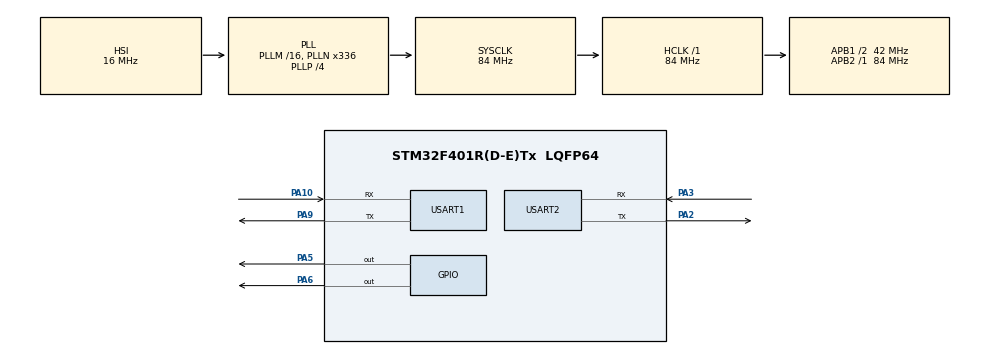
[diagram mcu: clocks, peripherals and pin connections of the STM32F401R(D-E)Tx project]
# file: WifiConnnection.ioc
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Mcu.Family=STM32F4
RCC.CortexFreq_Value=84000000
PA10.Mode=Asynchronous
RCC.APB1CLKDivider=RCC_HCLK_DIV2
NVIC.USART2_IRQn=true\:0\:0\:false\:false\:true\:true\:true
RCC.SYSCLKSource=RCC_SYSCLKSOURCE_PLLCLK
ProjectManager.StackSize=0x400
PA3.Mode=Asynchronous
PA9.Mode=Asynchronous
ProjectManager.TargetToolchain=STM32CubeIDE
RCC.HCLKFreq_Value=84000000
RCC.APB2TimFreq_Value=84000000
PA9.Signal=USART1_TX
RCC.LSE_VALUE=32768
RCC.AHBFreq_Value=84000000
PA5.Signal=GPIO_Output
RCC.HSE_VALUE=8000000
board=NUCLEO-F401RE
RCC.VCOOutputFreq_Value=336000000
RCC.APB2Freq_Value=84000000
Mcu.Name=STM32F401R(D-E)Tx
PA2.Signal=USART2_TX
RCC.48MHZClocksFreq_Value=48000000
RCC.SYSCLKFreq_VALUE=84000000
Mcu.Package=LQFP64
PA6.Signal=GPIO_Output
USART2.VirtualMode=VM_ASYNC
USART1.VirtualMode=VM_ASYNC
PA10.Signal=USART1_RX
ProjectManager.HeapSize=0x200
RCC.HSI_VALUE=16000000
RCC.PLLP=RCC_PLLP_DIV4
RCC.PLLQ=7
NVIC.PriorityGroup=NVIC_PRIORITYGROUP_0
RCC.PLLN=336
RCC.APB1TimFreq_Value=84000000
PA2.Mode=Asynchronous
NVIC.USART1_IRQn=true\:0\:0\:false\:false\:true\:true\:true
RCC.APB1Freq_Value=42000000
PA3.Signal=USART2_RX

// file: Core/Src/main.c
/* USER CODE BEGIN Header */
/**
 ******************************************************************************
 * @file           : main.c
 * @brief          : Main program body
 ******************************************************************************
 * @attention
 *
 * <h2><center>&copy; Copyright (c) 2021 STMicroelectronics.
 * All rights reserved.</center></h2>
 *
 * This software component is licensed by ST under BSD 3-Clause license,
 * the "License"; You may not use this file except in compliance with the
 * License. You may obtain a copy of the License at:
 *                        opensource.org/licenses/BSD-3-Clause
 *
 ******************************************************************************
 */
/* USER CODE END Header */
#include "main.h"
#include "stdlib.h"
#include "stdio.h"
#include "string.h"
/* USER CODE BEGIN Includes */
#define ESP_Buffer_Boyutu 5000
#define ESP_Buffer_Boyutu1 5000
/* USER CODE END Includes */
#define ESP1ID = 192.168.1.72
/* USER CODE BEGIN PTD */

char *renk  ="<select name='renk'>"
				"<option value='beyaz'>Beyaz</option>"
				"<option value='kirmizi'>Kirmizi</option>"
				"<option value='siyah'>Siyah</option>"
				"</select>";
char *Varlik = "'<input type='checkbox' name='araba_var' value='araba'> Arabam var. <br />";
char *Varlik1 ="'<input type='checkbox' name='ev' value='ev'> evim var. <br />";
char *LED_ON = "<br><a href=\" ?pin=on\"><button type='button'>ON</button></a>";
char *LED_OFF = "<br><a href=\" ?pin=off\"><button type='button'>OFF</button></a>";
/* USER CODE END PTD */

/* USER CODE BEGIN PD */
static uint8_t Case = 0;
char datatosend[2000] = {0};
char TX_Buffer[500];

char RX_Buffer[100];
char RX_Buffer1[100];
uint16_t ESP_Buffer_index=0;
char ID[] = "Luhmann";
char PW[] = "Luhmann2995@";
uint16_t Sayac = 0;
int baglanti_sayaci = 0;
int len = 0;
char ESP_Gelen_Data1[ESP_Buffer_Boyutu1];
/* USER CODE END PD */

/* USER CODE BEGIN PM */
char Luhmann[4] = "FF\r\n";
char TxBuffer1[4]="AT\r\n";
char TxBuffer2[12]="AT+CWMODE?\r\n";
char TxBuffer3[13]="AT+CWMODE=1\r\n";
char TxBuffer4[10]="AT+CIFSR\r\n";
char TxBuffer5[13]="AT+CIPMUX=1\r\n";
char TxBuffer6[21]="AT+CIPSERVER=1,3333\r\n";
char TxBuffer7[39]="AT+CIPSTART=\"TCP\",\"192.168.1.72\",3333\r\n";
char TxBuffer8[14]="AT+CIPSEND=4\r\n";
char TxBuffer9[35]= "AT+CWJAP=\"Luhmann\",\"Luhmann2995@\"\r\n";

char ESP_Gelen_Data[ESP_Buffer_Boyutu];
uint8_t RxBufferCnt=0;
uint8_t RxBufferCnt1=0;
/*UART2*/
uint8_t RxData=0;
uint8_t RxData1 =0;
uint16_t count=0;
uint16_t count1;
uint8_t pData[2];
/* USER CODE END PM */
/*UART2*/

uint16_t count1;
UART_HandleTypeDef huart1;
UART_HandleTypeDef huart2;

void SystemClock_Config(void);
static void MX_GPIO_Init(void);
static void MX_USART2_UART_Init(void);
static void MX_USART1_UART_Init(void);
/* USER CODE BEGIN PFP */
void DataConnectionControl(char *SSID, char *PW);
void ESP_Gelen_Data_Clear();

/* USER CODE END PFP */

void HAL_UART_RxCpltCallback(UART_HandleTypeDef *huart)
{
	if(huart == &huart2)
	{
		ESP_Gelen_Data[RxBufferCnt++]= RxData;
		if(RxBufferCnt>254)
			RxBufferCnt=0;

		HAL_UART_Receive_IT(&huart2,&RxData,1);
	}
	else if(huart == &huart1)
	{

		ESP_Gelen_Data1[RxBufferCnt1++]= RxData1;
		if(RxBufferCnt1>254)
			RxBufferCnt1=0;

		HAL_UART_Receive_IT(&huart1,&RxData1,1);
	}

}
int main(void)
{

	/* MCU Configuration--------------------------------------------------------*/

	/* Reset of all peripherals, Initializes the Flash interface and the Systick. */
	HAL_Init();

	/* Configure the system clock */
	SystemClock_Config();

	/* Initialize all configured peripherals */
	MX_GPIO_Init();
	MX_USART2_UART_Init();
	MX_USART1_UART_Init();
	/* USER CODE BEGIN 2 */
	HAL_UART_Receive_IT(&huart1,&RxData1,1);
	HAL_UART_Receive_IT(&huart2,&RxData,1);
	/* USER CODE END 2 */
	//HAL_UART_Transmit(&huart1,(uint8_t*)TX_Buffer, sprintf(TX_Buffer,"AT\r\n"), 1000);
	/* Infinite loop */
	/* USER CODE BEGIN WHILE */
	while (1)
	{

		DataConnectionControl(ID,PW);
		HAL_Delay(1);

		/* USER CODE END WHILE */

	}
}

void SystemClock_Config(void)
{
	RCC_OscInitTypeDef RCC_OscInitStruct = {0};
	RCC_ClkInitTypeDef RCC_ClkInitStruct = {0};

	/** Configure the main internal regulator output voltage
	 */
	__HAL_RCC_PWR_CLK_ENABLE();
	__HAL_PWR_VOLTAGESCALING_CONFIG(PWR_REGULATOR_VOLTAGE_SCALE2);
	/** Initializes the RCC Oscillators according to the specified parameters
	 * in the RCC_OscInitTypeDef structure.
	 */
	RCC_OscInitStruct.OscillatorType = RCC_OSCILLATORTYPE_HSI;
	RCC_OscInitStruct.HSIState = RCC_HSI_ON;
	RCC_OscInitStruct.HSICalibrationValue = RCC_HSICALIBRATION_DEFAULT;
	RCC_OscInitStruct.PLL.PLLState = RCC_PLL_ON;
	RCC_OscInitStruct.PLL.PLLSource = RCC_PLLSOURCE_HSI;
	RCC_OscInitStruct.PLL.PLLM = 16;
	RCC_OscInitStruct.PLL.PLLN = 336;
	RCC_OscInitStruct.PLL.PLLP = RCC_PLLP_DIV4;
	RCC_OscInitStruct.PLL.PLLQ = 7;
	if (HAL_RCC_OscConfig(&RCC_OscInitStruct) != HAL_OK)
	{
		Error_Handler();
	}
	/** Initializes the CPU, AHB and APB buses clocks
	 */
	RCC_ClkInitStruct.ClockType = RCC_CLOCKTYPE_HCLK|RCC_CLOCKTYPE_SYSCLK
			|RCC_CLOCKTYPE_PCLK1|RCC_CLOCKTYPE_PCLK2;
	RCC_ClkInitStruct.SYSCLKSource = RCC_SYSCLKSOURCE_PLLCLK;
	RCC_ClkInitStruct.AHBCLKDivider = RCC_SYSCLK_DIV1;
	RCC_ClkInitStruct.APB1CLKDivider = RCC_HCLK_DIV2;
	RCC_ClkInitStruct.APB2CLKDivider = RCC_HCLK_DIV1;

	if (HAL_RCC_ClockConfig(&RCC_ClkInitStruct, FLASH_LATENCY_2) != HAL_OK)
	{
		Error_Handler();
	}
}

static void MX_USART1_UART_Init(void)
{

	huart1.Instance = USART1;
	huart1.Init.BaudRate = 115200;
	huart1.Init.WordLength = UART_WORDLENGTH_8B;
	huart1.Init.StopBits = UART_STOPBITS_1;
	huart1.Init.Parity = UART_PARITY_NONE;
	huart1.Init.Mode = UART_MODE_TX_RX;
	huart1.Init.HwFlowCtl = UART_HWCONTROL_NONE;
	huart1.Init.OverSampling = UART_OVERSAMPLING_16;
	if (HAL_UART_Init(&huart1) != HAL_OK)
	{
		Error_Handler();
	}

}

static void MX_USART2_UART_Init(void)
{

	huart2.Instance = USART2;
	huart2.Init.BaudRate = 115200;
	huart2.Init.WordLength = UART_WORDLENGTH_8B;
	huart2.Init.StopBits = UART_STOPBITS_1;
	huart2.Init.Parity = UART_PARITY_NONE;
	huart2.Init.Mode = UART_MODE_TX_RX;
	huart2.Init.HwFlowCtl = UART_HWCONTROL_NONE;
	huart2.Init.OverSampling = UART_OVERSAMPLING_16;
	if (HAL_UART_Init(&huart2) != HAL_OK)
	{
		Error_Handler();
	}

}

static void MX_GPIO_Init(void)
{
	GPIO_InitTypeDef GPIO_InitStruct = {0};

	/* GPIO Ports Clock Enable */
	__HAL_RCC_GPIOA_CLK_ENABLE();

	/*Configure GPIO pin Output Level */
	HAL_GPIO_WritePin(GPIOA, GPIO_PIN_5|GPIO_PIN_6, GPIO_PIN_RESET);

	/*Configure GPIO pins : PA5 PA6 */
	GPIO_InitStruct.Pin = GPIO_PIN_5|GPIO_PIN_6;
	GPIO_InitStruct.Mode = GPIO_MODE_OUTPUT_PP;
	GPIO_InitStruct.Pull = GPIO_NOPULL;
	GPIO_InitStruct.Speed = GPIO_SPEED_FREQ_LOW;
	HAL_GPIO_Init(GPIOA, &GPIO_InitStruct);

}

/* USER CODE BEGIN 4 */
void DataConnectionControl(char *SSID,char *PW)
{

	switch(Case){
	case 0:
		HAL_UART_Transmit(&huart2,(uint8_t*)TxBuffer1, 4, 1000);
		Case = 1;
		HAL_Delay(1000);
		HAL_Delay(1);
		break;
	case 1:
		if(strstr(ESP_Gelen_Data,"OK"))
		{
			ESP_Gelen_Data_Clear();
			Case =2;
		}
		else
		{
			Case=0;
		}
		break;
	case 2:
		HAL_UART_Transmit(&huart2, (uint8_t*)TxBuffer2,12, 1000);
		Case = 3;
		HAL_Delay(1000);
		break;
	case 3:
		if(strstr(ESP_Gelen_Data,"+CWMODE:1"))
		{
			ESP_Gelen_Data_Clear();
			Case= 4;
		}
		else

		{
			ESP_Gelen_Data_Clear();
			HAL_UART_Transmit(&huart2, (uint8_t*)TxBuffer3,13, 100);
			Case = 3;

		}
		break;
		case 4:
		HAL_UART_Transmit(&huart2, (uint8_t*)TxBuffer9, 35, 100);
		Case = 5;
		HAL_Delay(5000);
		break;

	case 5:
		if(strstr(ESP_Gelen_Data,"OK"))
		{
			ESP_Gelen_Data_Clear();
			Case = 6;
		}
		else
		{
			ESP_Gelen_Data_Clear();
			Case = 6;

		}
			break;

	case 6:
		HAL_UART_Transmit(&huart2, (uint8_t*)TxBuffer4, 10, 100);
		HAL_Delay(1000);
		Case=7;
		break;
	case 7:
		if(strstr(ESP_Gelen_Data,"OK"))
		{
			ESP_Gelen_Data_Clear();
			Case =8;
		}
		else
		 {
			ESP_Gelen_Data_Clear();
			Case=8;
		  }
        break;
	case 8:
		HAL_UART_Transmit(&huart2, (uint8_t*)TxBuffer5, 13, 100);
		HAL_Delay(1000);
		Case =9;
		break;
	case 9:
		if(strstr(ESP_Gelen_Data,"OK"))
		{
			ESP_Gelen_Data_Clear();
			Case =10;
		}
		else
		{
			ESP_Gelen_Data_Clear();
			Case =10;
		}
		break;
	case 10:
		HAL_UART_Transmit(&huart2, (uint8_t*)TxBuffer6, 21,100);
		HAL_Delay(1000);
		HAL_Delay(1);
	    Case =11;
	case 11:
		if(strstr(ESP_Gelen_Data,"OK"))
		{
			HAL_GPIO_WritePin(GPIOA, GPIO_PIN_5, GPIO_PIN_SET);
			ESP_Gelen_Data_Clear();
			Case =12;
		}
		else
		{
			ESP_Gelen_Data_Clear();
			Case =12;
		}
		break;

	case 12:

	    HAL_UART_Transmit(&huart1, (uint8_t*)TxBuffer7, 39,100);
	    HAL_Delay(2000);
		HAL_Delay(1);
	    Case = 13;
	case 13:

		HAL_UART_Transmit(&huart1, (uint8_t*)TxBuffer8, 14, 100);
		HAL_Delay(2000);
	    Case=14;
	    break;
	case 14:
		 HAL_UART_Transmit(&huart1, (uint8_t*)Luhmann, 4, 100);
		 HAL_Delay(2000);
		 HAL_Delay(1);
		 Case=15;
		break;
	case 15:
		if(strstr(ESP_Gelen_Data,"FF"))
		{
			HAL_GPIO_WritePin(GPIOA, GPIO_PIN_5, GPIO_PIN_SET);
			HAL_Delay(5000);
			HAL_Delay(1);
			HAL_UART_Transmit(&huart2, (uint8_t*)TX_Buffer, sprintf(TX_Buffer, "AT+CIPCLOSE=0\r\n"), 100);
			ESP_Gelen_Data_Clear();
		    Case = 12;
		}
		break;
	}

}

void ESP_Gelen_Data_Clear()
	{
		uint16_t xxx = 0;

		for(xxx=0; xxx < ESP_Buffer_Boyutu; xxx++)
		{
			ESP_Gelen_Data[xxx] = 0;
			ESP_Gelen_Data1[xxx] = 0;
		}
	}
/* USER CODE END 4 */

void Error_Handler(void)
{
	__disable_irq();
	while (1)
	{
	}
}

/************************ (C) COPYRIGHT STMicroelectronics *****END OF FILE****/
